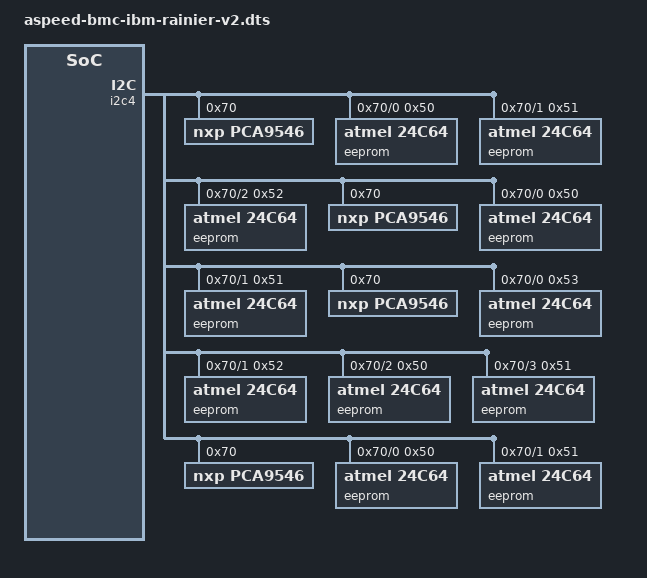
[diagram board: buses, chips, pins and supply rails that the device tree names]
// SPDX-License-Identifier: GPL-2.0-or-later
// Copyright 2021 IBM Corp.
/dts-v1/;

#include "aspeed-bmc-ibm-rainier.dts"

/ {
	i2c20 = &i2c4mux0chn0;
	i2c21 = &i2c4mux0chn1;
	i2c22 = &i2c4mux0chn2;
	i2c23 = &i2c5mux0chn0;
	i2c24 = &i2c5mux0chn1;
	i2c25 = &i2c6mux0chn0;
	i2c26 = &i2c6mux0chn1;
	i2c27 = &i2c6mux0chn2;
	i2c28 = &i2c6mux0chn3;
	i2c29 = &i2c11mux0chn0;
	i2c30 = &i2c11mux0chn1;
};

&i2c4 {
	/delete-node/ eeprom@50;
	/delete-node/ eeprom@51;
	/delete-node/ eeprom@52;

	pca9546@70 {
		compatible = "nxp,pca9546";
		reg = <0x70>;
		#address-cells = <1>;
		#size-cells = <0>;
		status = "okay";
		i2c-mux-idle-disconnect;

		i2c4mux0chn0: i2c@0 {
			#address-cells = <1>;
			#size-cells = <0>;
			reg = <0>;

			eeprom@50 {
				compatible = "atmel,24c64";
				reg = <0x50>;
			};
		};

		i2c4mux0chn1: i2c@1 {
			#address-cells = <1>;
			#size-cells = <0>;
			reg = <1>;

			eeprom@51 {
				compatible = "atmel,24c64";
				reg = <0x51>;
			};
		};

		i2c4mux0chn2: i2c@2 {
			#address-cells = <1>;
			#size-cells = <0>;
			reg = <2>;

			eeprom@52 {
				compatible = "atmel,24c64";
				reg = <0x52>;
			};
	};
};

&i2c5 {
	/delete-node/ eeprom@50;
	/delete-node/ eeprom@51;

	pca9546@70 {
		compatible = "nxp,pca9546";
		reg = <0x70>;
		#address-cells = <1>;
		#size-cells = <0>;
		status = "okay";
		i2c-mux-idle-disconnect;

		i2c5mux0chn0: i2c@0 {
			#address-cells = <1>;
			#size-cells = <0>;
			reg = <0>;

			eeprom@50 {
				compatible = "atmel,24c64";
				reg = <0x50>;
			};
		};

		i2c5mux0chn1: i2c@1 {
			#address-cells = <1>;
			#size-cells = <0>;
			reg = <1>;

			eeprom@51 {
				compatible = "atmel,24c64";
				reg = <0x51>;
			};
		};
	};
};

&i2c6 {
	/delete-node/ eeprom@50;
	/delete-node/ eeprom@51;
	/delete-node/ eeprom@52;
	/delete-node/ eeprom@53;

	pca9546@70 {
		compatible = "nxp,pca9546";
		reg = <0x70>;
		#address-cells = <1>;
		#size-cells = <0>;
		status = "okay";
		i2c-mux-idle-disconnect;

		i2c6mux0chn0: i2c@0 {
			#address-cells = <1>;
			#size-cells = <0>;
			reg = <0>;

			eeprom@53 {
				compatible = "atmel,24c64";
				reg = <0x53>;
			};
		};

		i2c6mux0chn1: i2c@1 {
			#address-cells = <1>;
			#size-cells = <0>;
			reg = <1>;

			eeprom@52 {
				compatible = "atmel,24c64";
				reg = <0x52>;
			};
		};

		i2c6mux0chn2: i2c@2 {
			#address-cells = <1>;
			#size-cells = <0>;
			reg = <2>;

			eeprom@50 {
				compatible = "atmel,24c64";
				reg = <0x50>;
			};
		};

		i2c6mux0chn3: i2c@3 {
			#address-cells = <1>;
			#size-cells = <0>;
			reg = <3>;

			eeprom@51 {
				compatible = "atmel,24c64";
				reg = <0x51>;
			};
		};
	};
};

&i2c11 {
	/delete-node/ eeprom@50;
	/delete-node/ eeprom@51;

	pca9546@70 {
		compatible = "nxp,pca9546";
		reg = <0x70>;
		#address-cells = <1>;
		#size-cells = <0>;
		status = "okay";
		i2c-mux-idle-disconnect;

		i2c11mux0chn0: i2c@0 {
			#address-cells = <1>;
			#size-cells = <0>;
			reg = <0>;

			eeprom@50 {
				compatible = "atmel,24c64";
				reg = <0x50>;
			};
		};

		i2c11mux0chn1: i2c@1 {
			#address-cells = <1>;
			#size-cells = <0>;
			reg = <1>;

			eeprom@51 {
				compatible = "atmel,24c64";
				reg = <0x51>;
			};
		};
	};
};
